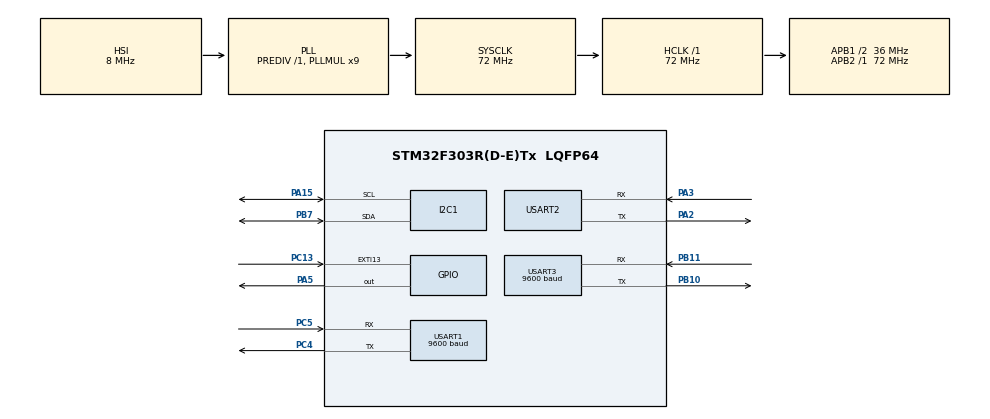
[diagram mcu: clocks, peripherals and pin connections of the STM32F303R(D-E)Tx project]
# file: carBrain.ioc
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Dma.Request0=USART3_RX
Dma.USART3_RX.0.Direction=DMA_PERIPH_TO_MEMORY
Dma.USART3_RX.0.Instance=DMA1_Channel3
Dma.USART3_RX.0.MemDataAlignment=DMA_MDATAALIGN_BYTE
Dma.USART3_RX.0.MemInc=DMA_MINC_ENABLE
Dma.USART3_RX.0.Mode=DMA_CIRCULAR
Dma.USART3_RX.0.PeriphDataAlignment=DMA_PDATAALIGN_BYTE
Dma.USART3_RX.0.PeriphInc=DMA_PINC_DISABLE
Dma.USART3_RX.0.Priority=DMA_PRIORITY_LOW
FREERTOS.BinarySemaphores01=myBinarySem01,Dynamic,NULL
FREERTOS.Queues01=myQueue01,16,uint16_t,0,Dynamic,NULL,NULL
FREERTOS.Tasks01=defaultTask,0,128,StartDefaultTask,Default,NULL,Dynamic,NULL,NULL;driverTask,-3,128,StartDriver,Default,NULL,Dynamic,NULL,NULL;extlEnvTask,-3,128,StartExtEnvTask,Default,NULL,Dynamic,NULL,NULL
Mcu.Family=STM32F3
Mcu.Name=STM32F303R(D-E)Tx
Mcu.Package=LQFP64
NVIC.DMA1_Channel3_IRQn=true\:5\:0\:false\:false\:true\:true\:false
NVIC.PriorityGroup=NVIC_PRIORITYGROUP_4
PA13.Mode=Serial_Wire
PA13.Signal=SYS_JTMS-SWDIO
PA14.Mode=Serial_Wire
PA14.Signal=SYS_JTCK-SWCLK
PA15.Mode=I2C
PA15.Signal=I2C1_SCL
PA2.GPIO_Mode=GPIO_MODE_AF_PP
PA2.GPIO_ModeDefaultPP=GPIO_MODE_AF_PP
PA2.GPIO_PuPd=GPIO_NOPULL
PA2.GPIO_Speed=GPIO_SPEED_FREQ_HIGH
PA2.Mode=Asynchronous
PA2.Signal=USART2_TX
PA3.GPIO_Mode=GPIO_MODE_AF_PP
PA3.GPIO_ModeDefaultPP=GPIO_MODE_AF_PP
PA3.GPIO_PuPd=GPIO_NOPULL
PA3.GPIO_Speed=GPIO_SPEED_FREQ_HIGH
PA3.Mode=Asynchronous
PA3.Signal=USART2_RX
PA5.GPIO_Mode=GPIO_MODE_OUTPUT_PP
PA5.GPIO_ModeDefaultOutputPP=GPIO_MODE_OUTPUT_PP
PA5.GPIO_PuPd=GPIO_NOPULL
PA5.GPIO_Speed=GPIO_SPEED_FREQ_LOW
PA5.PinState=GPIO_PIN_RESET
PA5.Signal=GPIO_Output
PB10.Mode=Asynchronous
PB10.Signal=USART3_TX
PB11.Mode=Asynchronous
PB11.Signal=USART3_RX
PB3.Signal=SYS_JTDO-TRACESWO
PB7.Mode=I2C
PB7.Signal=I2C1_SDA
PC13.GPIO_ModeDefaultEXTI=GPIO_MODE_IT_RISING
PC13.GPIO_PuPd=GPIO_NOPULL
PC13.Signal=GPXTI13
PC14-OSC32_IN.Mode=LSE-External-Oscillator
PC14-OSC32_IN.Signal=RCC_OSC32_IN
PC15-OSC32_OUT.Mode=LSE-External-Oscillator
PC15-OSC32_OUT.Signal=RCC_OSC32_OUT
PC4.Mode=Asynchronous
PC4.Signal=USART1_TX
PC5.Mode=Asynchronous
PC5.Signal=USART1_RX
PF0-OSC_IN.Mode=HSE-External-Clock-Source
PF0-OSC_IN.Signal=RCC_OSC_IN
PF1-OSC_OUT.Signal=RCC_OSC_OUT
ProjectManager.HeapSize=0x200
ProjectManager.StackSize=0x400
ProjectManager.TargetToolchain=TrueSTUDIO
RCC.AHBFreq_Value=72000000
RCC.APB1CLKDivider=RCC_HCLK_DIV2
RCC.APB1Freq_Value=36000000
RCC.APB1TimFreq_Value=72000000
RCC.APB2Freq_Value=72000000
RCC.APB2TimFreq_Value=72000000
RCC.CortexFreq_Value=72000000
RCC.HCLKFreq_Value=72000000
RCC.HSE_VALUE=8000000
RCC.HSI_VALUE=8000000
RCC.PLLM=8
RCC.PLLMUL=RCC_PLL_MUL9
RCC.PLLN=336
RCC.PLLP=RCC_PLLP_DIV4
RCC.PLLQ=7
RCC.RCC_PLLsource_Clock_Source_FROM_HSE=RCC_HSE_PREDIV_DIV2
RCC.SYSCLKFreq_VALUE=72000000
RCC.SYSCLKSourceVirtual=RCC_SYSCLKSOURCE_PLLCLK
RCC.USBFreq_Value=72000000
USART1.BaudRate=9600
USART1.VirtualMode-Asynchronous=VM_ASYNC
USART2.VirtualMode-Asynchronous=VM_ASYNC
USART3.BaudRate=9600
USART3.VirtualMode-Asynchronous=VM_ASYNC
VP_FREERTOS_VS_ENABLE.Mode=Enabled
board=NUCLEO-F303RE

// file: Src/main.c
/* USER CODE BEGIN Header */
/**
 ******************************************************************************
 * @file           : main.c
 * @brief          : Main program body
 ******************************************************************************
 * This notice applies to any and all portions of this file
 * that are not between comment pairs USER CODE BEGIN and
 * USER CODE END. Other portions of this file, whether
 * inserted by the user or by software development tools
 * are owned by their respective copyright owners.
 *
 * Copyright (c) 2019 STMicroelectronics International N.V.
 * All rights reserved.
 *
 * Redistribution and use in source and binary forms, with or without
 * modification, are permitted, provided that the following conditions are met:
 *
 * 1. Redistribution of source code must retain the above copyright notice,
 *    this list of conditions and the following disclaimer.
 * 2. Redistributions in binary form must reproduce the above copyright notice,
 *    this list of conditions and the following disclaimer in the documentation
 *    and/or other materials provided with the distribution.
 * 3. Neither the name of STMicroelectronics nor the names of other
 *    contributors to this software may be used to endorse or promote products
 *    derived from this software without specific written permission.
 * 4. This software, including modifications and/or derivative works of this
 *    software, must execute solely and exclusively on microcontroller or
 *    microprocessor devices manufactured by or for STMicroelectronics.
 * 5. Redistribution and use of this software other than as permitted under
 *    this license is void and will automatically terminate your rights under
 *    this license.
 *
 * THIS SOFTWARE IS PROVIDED BY STMICROELECTRONICS AND CONTRIBUTORS "AS IS"
 * AND ANY EXPRESS, IMPLIED OR STATUTORY WARRANTIES, INCLUDING, BUT NOT
 * LIMITED TO, THE IMPLIED WARRANTIES OF MERCHANTABILITY, FITNESS FOR A
 * PARTICULAR PURPOSE AND NON-INFRINGEMENT OF THIRD PARTY INTELLECTUAL PROPERTY
 * RIGHTS ARE DISCLAIMED TO THE FULLEST EXTENT PERMITTED BY LAW. IN NO EVENT
 * SHALL STMICROELECTRONICS OR CONTRIBUTORS BE LIABLE FOR ANY DIRECT, INDIRECT,
 * INCIDENTAL, SPECIAL, EXEMPLARY, OR CONSEQUENTIAL DAMAGES (INCLUDING, BUT NOT
 * LIMITED TO, PROCUREMENT OF SUBSTITUTE GOODS OR SERVICES; LOSS OF USE, DATA,
 * OR PROFITS; OR BUSINESS INTERRUPTION) HOWEVER CAUSED AND ON ANY THEORY OF
 * LIABILITY, WHETHER IN CONTRACT, STRICT LIABILITY, OR TORT (INCLUDING
 * NEGLIGENCE OR OTHERWISE) ARISING IN ANY WAY OUT OF THE USE OF THIS SOFTWARE,
 * EVEN IF ADVISED OF THE POSSIBILITY OF SUCH DAMAGE.
 *
 ******************************************************************************
 */
/* USER CODE END Header */

#include "main.h"
#include "cmsis_os.h"

/* USER CODE BEGIN Includes */
#include <malloc.h>
#include "carHw.h"
#include "driver.h"
#include "extEnvironment.h"
#include <QMC5883L.h>

/* USER CODE END Includes */

/* USER CODE BEGIN PTD */
extern obstacle *obstacleList[];
/* USER CODE END PTD */

/* USER CODE BEGIN PD */
extern void HAL_USART_RxHalfCpltCallback(UART_HandleTypeDef *huart);
extern void HAL_USART_RxCpltCallback(UART_HandleTypeDef *huart);
extern void HAL_USART_ErrorCallback(UART_HandleTypeDef *huart);
/* USER CODE END PD */

/* USER CODE BEGIN PM */
#define blckqSTACK_SIZE   configMINIMAL_STACK_SIZE
#define QUEUE_SIZE        (uint32_t) 1

/* USER CODE END PM */

I2C_HandleTypeDef hi2c1;

UART_HandleTypeDef huart1;
UART_HandleTypeDef huart2;
UART_HandleTypeDef huart3;
DMA_HandleTypeDef hdma_usart3_rx;

osThreadId defaultTaskHandle;
osThreadId driverTaskHandle;
osThreadId extlEnvTaskHandle;
osMessageQId myQueue01Handle;
osSemaphoreId myBinarySem01Handle;
/* USER CODE BEGIN PV */

uint8_t aTxBuffer[] = " **** UART_TwoBoards_ComPolling ****   **** UART_TwoBoards_ComPolling **** ";

/* Buffer used for reception */
uint8_t aRxBuffer[100];
uint8_t aRx2Buffer[100];
uint8_t aRx1Buffer[100];
/*define a global to hold the buffer as well as a circle count*/
uint8_t received[] = "           \n\r";
uint8_t num_rx_rounds = 0;

/* Queue used for communication between extEnvTask and driverTask */
osMessageQId osQueue;
/* Queue used for communication between driverTask and carHw(defaultTask) */
osMessageQId cmdQueueHandle;
uint32_t ProducerValue = 0, ConsumerValue = 0;
__IO uint32_t ProducerErrors = 0, ConsumerErrors = 0;

/* USER CODE END PV */

void SystemClock_Config(void);
static void MX_GPIO_Init(void);
static void MX_DMA_Init(void);
static void MX_USART2_UART_Init(void);
static void MX_USART1_UART_Init(void);
static void MX_USART3_UART_Init(void);
static void MX_I2C1_Init(void);
void StartDefaultTask(void const * argument);
void StartDriver(void const * argument);
void StartExtEnvTask(void const * argument);

int main(void)
{
  /* USER CODE BEGIN 1 */
	char tmpString[28];
	int n;
	//	char *tmpPtr;
	obstacle *xy;
	extern obstacle *obstacleList[40];
	for (int i =0; i < 40; i++ ){
		xy = (obstacle *) malloc (sizeof(obstacle));
		obstacleList[i] = xy;
		//		obstacleList[i]->
		obstacleList[i]->timestamp = 0;
		obstacleList[i]->speed = i;
		n = sprintf(tmpString,"ObstaclePointer %d", (int) (obstacleList[i]));
	}
	QMC5883L_Initialize(MODE_CONTROL_CONTINUOUS, OUTPUT_DATA_RATE_200HZ, FULL_SCALE_2G, OVER_SAMPLE_RATIO_128);
	QMC5883L_Reset();
  /* USER CODE END 1 */

  /* MCU Configuration--------------------------------------------------------*/

  /* Reset of all peripherals, Initializes the Flash interface and the Systick. */
  HAL_Init();

  /* Configure the system clock */
  SystemClock_Config();

  /* Initialize all configured peripherals */
  MX_GPIO_Init();
  MX_DMA_Init();
  MX_USART2_UART_Init();
  MX_USART1_UART_Init();
  MX_USART3_UART_Init();
  MX_I2C1_Init();
  /* USER CODE BEGIN 2 */
	//  HAL_UART_Receive_DMA(&huart3, received, sizeof(received)-3);
	HAL_UART_Receive_DMA(&huart3, received, 1);
	//USART_ITConfig(USART3, USART_IT_RXNE, ENABLE);
	/* Enable USART1 global interrupt */
	//	    NVIC_EnableIRQ(USART3_IRQn);
  /* USER CODE END 2 */

  /* Create the semaphores(s) */
  /* definition and creation of myBinarySem01 */
  osSemaphoreDef(myBinarySem01);
  myBinarySem01Handle = osSemaphoreCreate(osSemaphore(myBinarySem01), 1);

  /* Create the thread(s) */
  /* definition and creation of defaultTask */
  osThreadDef(defaultTask, StartDefaultTask, osPriorityNormal, 0, 128);
  defaultTaskHandle = osThreadCreate(osThread(defaultTask), NULL);

  /* definition and creation of driverTask */
  osThreadDef(driverTask, StartDriver, osPriorityIdle, 0, 128);
  driverTaskHandle = osThreadCreate(osThread(driverTask), NULL);

  /* definition and creation of extlEnvTask */
  osThreadDef(extlEnvTask, StartExtEnvTask, osPriorityIdle, 0, 128);
  extlEnvTaskHandle = osThreadCreate(osThread(extlEnvTask), NULL);

  /* Create the queue(s) */
  /* definition and creation of myQueue01 */
  osMessageQDef(myQueue01, 16, uint16_t);
  myQueue01Handle = osMessageCreate(osMessageQ(myQueue01), NULL);

  /* USER CODE BEGIN RTOS_QUEUES */
	/* add queues, ... */
	//	/* Create the queue used by the two tasks to pass the incrementing number.
	//	   Pass a pointer to the queue in the parameter structure */
	//	osMessageQDef(osqueue, QUEUE_SIZE, uint16_t);
	//	osQueue = osMessageCreate(osMessageQ(osqueue), NULL);
	//	/* Create the queue used by the two tasks to pass the incrementing number.
	//	   Pass a pointer to the queue in the parameter structure */
	//	osMessageQDef(cmdqueue, QUEUE_SIZE, uint16_t);
	//	cmdQueueHandle = osMessageCreate(osMessageQ(cmdqueue), NULL);
	//
	//	/* Note that the producer has a lower priority than the consumer when the tasks are
	//	     spawned */
	//	osThreadDef(QCons, MessageQueueConsumer, osPriorityBelowNormal, 0, blckqSTACK_SIZE);
	//	osThreadCreate(osThread(QCons), NULL);
	//
	//	osThreadDef(QProd, MessageQueueProducer, osPriorityBelowNormal, 0, blckqSTACK_SIZE);
	//	osThreadCreate(osThread(QProd), NULL);

  /* USER CODE END RTOS_QUEUES */

  /* Start scheduler */
  osKernelStart();

  /* We should never get here as control is now taken by the scheduler */

  /* Infinite loop */
	while (1)
	{

	}
}

void SystemClock_Config(void)
{
  RCC_OscInitTypeDef RCC_OscInitStruct = {0};
  RCC_ClkInitTypeDef RCC_ClkInitStruct = {0};
  RCC_PeriphCLKInitTypeDef PeriphClkInit = {0};

  /**Initializes the CPU, AHB and APB busses clocks
  */
  RCC_OscInitStruct.OscillatorType = RCC_OSCILLATORTYPE_HSI;
  RCC_OscInitStruct.HSIState = RCC_HSI_ON;
  RCC_OscInitStruct.HSICalibrationValue = RCC_HSICALIBRATION_DEFAULT;
  RCC_OscInitStruct.PLL.PLLState = RCC_PLL_ON;
  RCC_OscInitStruct.PLL.PLLSource = RCC_PLLSOURCE_HSI;
  RCC_OscInitStruct.PLL.PLLMUL = RCC_PLL_MUL9;
  RCC_OscInitStruct.PLL.PREDIV = RCC_PREDIV_DIV1;
  if (HAL_RCC_OscConfig(&RCC_OscInitStruct) != HAL_OK)
  {
    Error_Handler();
  }
  /**Initializes the CPU, AHB and APB busses clocks
  */
  RCC_ClkInitStruct.ClockType = RCC_CLOCKTYPE_HCLK|RCC_CLOCKTYPE_SYSCLK
                              |RCC_CLOCKTYPE_PCLK1|RCC_CLOCKTYPE_PCLK2;
  RCC_ClkInitStruct.SYSCLKSource = RCC_SYSCLKSOURCE_PLLCLK;
  RCC_ClkInitStruct.AHBCLKDivider = RCC_SYSCLK_DIV1;
  RCC_ClkInitStruct.APB1CLKDivider = RCC_HCLK_DIV2;
  RCC_ClkInitStruct.APB2CLKDivider = RCC_HCLK_DIV1;

  if (HAL_RCC_ClockConfig(&RCC_ClkInitStruct, FLASH_LATENCY_2) != HAL_OK)
  {
    Error_Handler();
  }
  PeriphClkInit.PeriphClockSelection = RCC_PERIPHCLK_USART1|RCC_PERIPHCLK_USART2
                              |RCC_PERIPHCLK_USART3|RCC_PERIPHCLK_I2C1;
  PeriphClkInit.Usart1ClockSelection = RCC_USART1CLKSOURCE_PCLK2;
  PeriphClkInit.Usart2ClockSelection = RCC_USART2CLKSOURCE_PCLK1;
  PeriphClkInit.Usart3ClockSelection = RCC_USART3CLKSOURCE_PCLK1;
  PeriphClkInit.I2c1ClockSelection = RCC_I2C1CLKSOURCE_HSI;
  if (HAL_RCCEx_PeriphCLKConfig(&PeriphClkInit) != HAL_OK)
  {
    Error_Handler();
  }
}

static void MX_I2C1_Init(void)
{

  hi2c1.Instance = I2C1;
  hi2c1.Init.Timing = 0x2000090E;
  hi2c1.Init.OwnAddress1 = 0;
  hi2c1.Init.AddressingMode = I2C_ADDRESSINGMODE_7BIT;
  hi2c1.Init.DualAddressMode = I2C_DUALADDRESS_DISABLE;
  hi2c1.Init.OwnAddress2 = 0;
  hi2c1.Init.OwnAddress2Masks = I2C_OA2_NOMASK;
  hi2c1.Init.GeneralCallMode = I2C_GENERALCALL_DISABLE;
  hi2c1.Init.NoStretchMode = I2C_NOSTRETCH_DISABLE;
  if (HAL_I2C_Init(&hi2c1) != HAL_OK)
  {
    Error_Handler();
  }
  /**Configure Analogue filter
  */
  if (HAL_I2CEx_ConfigAnalogFilter(&hi2c1, I2C_ANALOGFILTER_ENABLE) != HAL_OK)
  {
    Error_Handler();
  }
  /**Configure Digital filter
  */
  if (HAL_I2CEx_ConfigDigitalFilter(&hi2c1, 0) != HAL_OK)
  {
    Error_Handler();
  }

}

static void MX_USART1_UART_Init(void)
{

  /* USER CODE BEGIN USART1_Init 1 */
	huart2.pRxBuffPtr = &aRx1Buffer[0];
	huart2.RxXferSize = 100;
	//  huart1.Init.BaudRate = 38400;
	//	  huart1.Init.BaudRate = 9600;
  /* USER CODE END USART1_Init 1 */
  huart1.Instance = USART1;
  huart1.Init.BaudRate = 9600;
  huart1.Init.WordLength = UART_WORDLENGTH_8B;
  huart1.Init.StopBits = UART_STOPBITS_1;
  huart1.Init.Parity = UART_PARITY_NONE;
  huart1.Init.Mode = UART_MODE_TX_RX;
  huart1.Init.HwFlowCtl = UART_HWCONTROL_NONE;
  huart1.Init.OverSampling = UART_OVERSAMPLING_16;
  huart1.Init.OneBitSampling = UART_ONE_BIT_SAMPLE_DISABLE;
  huart1.AdvancedInit.AdvFeatureInit = UART_ADVFEATURE_NO_INIT;
  if (HAL_UART_Init(&huart1) != HAL_OK)
  {
    Error_Handler();
  }

}

static void MX_USART2_UART_Init(void)
{

  /* USER CODE BEGIN USART2_Init 1 */
	huart2.pRxBuffPtr = &aRx2Buffer[0];
	huart2.RxXferSize = 100;

  /* USER CODE END USART2_Init 1 */
  huart2.Instance = USART2;
  huart2.Init.BaudRate = 38400;
  huart2.Init.WordLength = UART_WORDLENGTH_8B;
  huart2.Init.StopBits = UART_STOPBITS_1;
  huart2.Init.Parity = UART_PARITY_NONE;
  huart2.Init.Mode = UART_MODE_TX_RX;
  huart2.Init.HwFlowCtl = UART_HWCONTROL_NONE;
  huart2.Init.OverSampling = UART_OVERSAMPLING_16;
  huart2.Init.OneBitSampling = UART_ONE_BIT_SAMPLE_DISABLE;
  huart2.AdvancedInit.AdvFeatureInit = UART_ADVFEATURE_NO_INIT;
  if (HAL_UART_Init(&huart2) != HAL_OK)
  {
    Error_Handler();
  }

}

static void MX_USART3_UART_Init(void)
{

  /* USER CODE BEGIN USART3_Init 1 */
	huart3.pRxBuffPtr = &aRxBuffer[0];
	huart3.RxXferSize = 100;
  /* USER CODE END USART3_Init 1 */
  huart3.Instance = USART3;
  huart3.Init.BaudRate = 9600;
  huart3.Init.WordLength = UART_WORDLENGTH_8B;
  huart3.Init.StopBits = UART_STOPBITS_1;
  huart3.Init.Parity = UART_PARITY_NONE;
  huart3.Init.Mode = UART_MODE_TX_RX;
  huart3.Init.HwFlowCtl = UART_HWCONTROL_NONE;
  huart3.Init.OverSampling = UART_OVERSAMPLING_16;
  huart3.Init.OneBitSampling = UART_ONE_BIT_SAMPLE_DISABLE;
  huart3.AdvancedInit.AdvFeatureInit = UART_ADVFEATURE_NO_INIT;
  if (HAL_UART_Init(&huart3) != HAL_OK)
  {
    Error_Handler();
  }

}

static void MX_DMA_Init(void)
{
  /* DMA controller clock enable */
  __HAL_RCC_DMA1_CLK_ENABLE();

  /* DMA interrupt init */
  /* DMA1_Channel3_IRQn interrupt configuration */
  HAL_NVIC_SetPriority(DMA1_Channel3_IRQn, 5, 0);
  HAL_NVIC_EnableIRQ(DMA1_Channel3_IRQn);

}

static void MX_GPIO_Init(void)
{
  GPIO_InitTypeDef GPIO_InitStruct = {0};

  /* GPIO Ports Clock Enable */
  __HAL_RCC_GPIOC_CLK_ENABLE();
  __HAL_RCC_GPIOF_CLK_ENABLE();
  __HAL_RCC_GPIOA_CLK_ENABLE();
  __HAL_RCC_GPIOB_CLK_ENABLE();

  /*Configure GPIO pin Output Level */
  HAL_GPIO_WritePin(GPIOA, GPIO_PIN_5, GPIO_PIN_RESET);

  /*Configure GPIO pin : PC13 */
  GPIO_InitStruct.Pin = GPIO_PIN_13;
  GPIO_InitStruct.Mode = GPIO_MODE_IT_RISING;
  GPIO_InitStruct.Pull = GPIO_NOPULL;
  HAL_GPIO_Init(GPIOC, &GPIO_InitStruct);

  /*Configure GPIO pin : PA5 */
  GPIO_InitStruct.Pin = GPIO_PIN_5;
  GPIO_InitStruct.Mode = GPIO_MODE_OUTPUT_PP;
  GPIO_InitStruct.Pull = GPIO_NOPULL;
  GPIO_InitStruct.Speed = GPIO_SPEED_FREQ_LOW;
  HAL_GPIO_Init(GPIOA, &GPIO_InitStruct);

}

void StartDefaultTask(void const * argument)
{

  /* USER CODE BEGIN 5 */
	/* Infinite loop */
	for(;;)
	{

		runCarHw(&huart1, &huart3);
		osDelay(10);
	}
  /* USER CODE END 5 */
}

void StartDriver(void const * argument)
{
  /* USER CODE BEGIN StartDriver */
	/* Infinite loop */
	for(;;)
	{
		//		GPIO_Write(LD2_GPIO_Port, LD2_Pin,GPIO_BIT_SET);
		//		HAL_GPIO_DeInit(LD2_GPIO_Port, LD2_Pin);
		//		HAL_GPIO_TogglePin(LD2_GPIO_Port, LD2_Pin);
		//	  HAL_GPIO_TogglePin(LD2_GPIO_Port, LD2_Pin);
		//	  osDelay(300);

		runDriver();
		osDelay(10);
	}
  /* USER CODE END StartDriver */
}

void StartExtEnvTask(void const * argument)
{
  /* USER CODE BEGIN StartExtEnvTask */
	/* Infinite loop */
	for(;;)
	{
		runExtEnvironment();
		osDelay(10);
	}
  /* USER CODE END StartExtEnvTask */
}

void Error_Handler(void)
{
}

/************************ (C) COPYRIGHT STMicroelectronics *****END OF FILE****/
